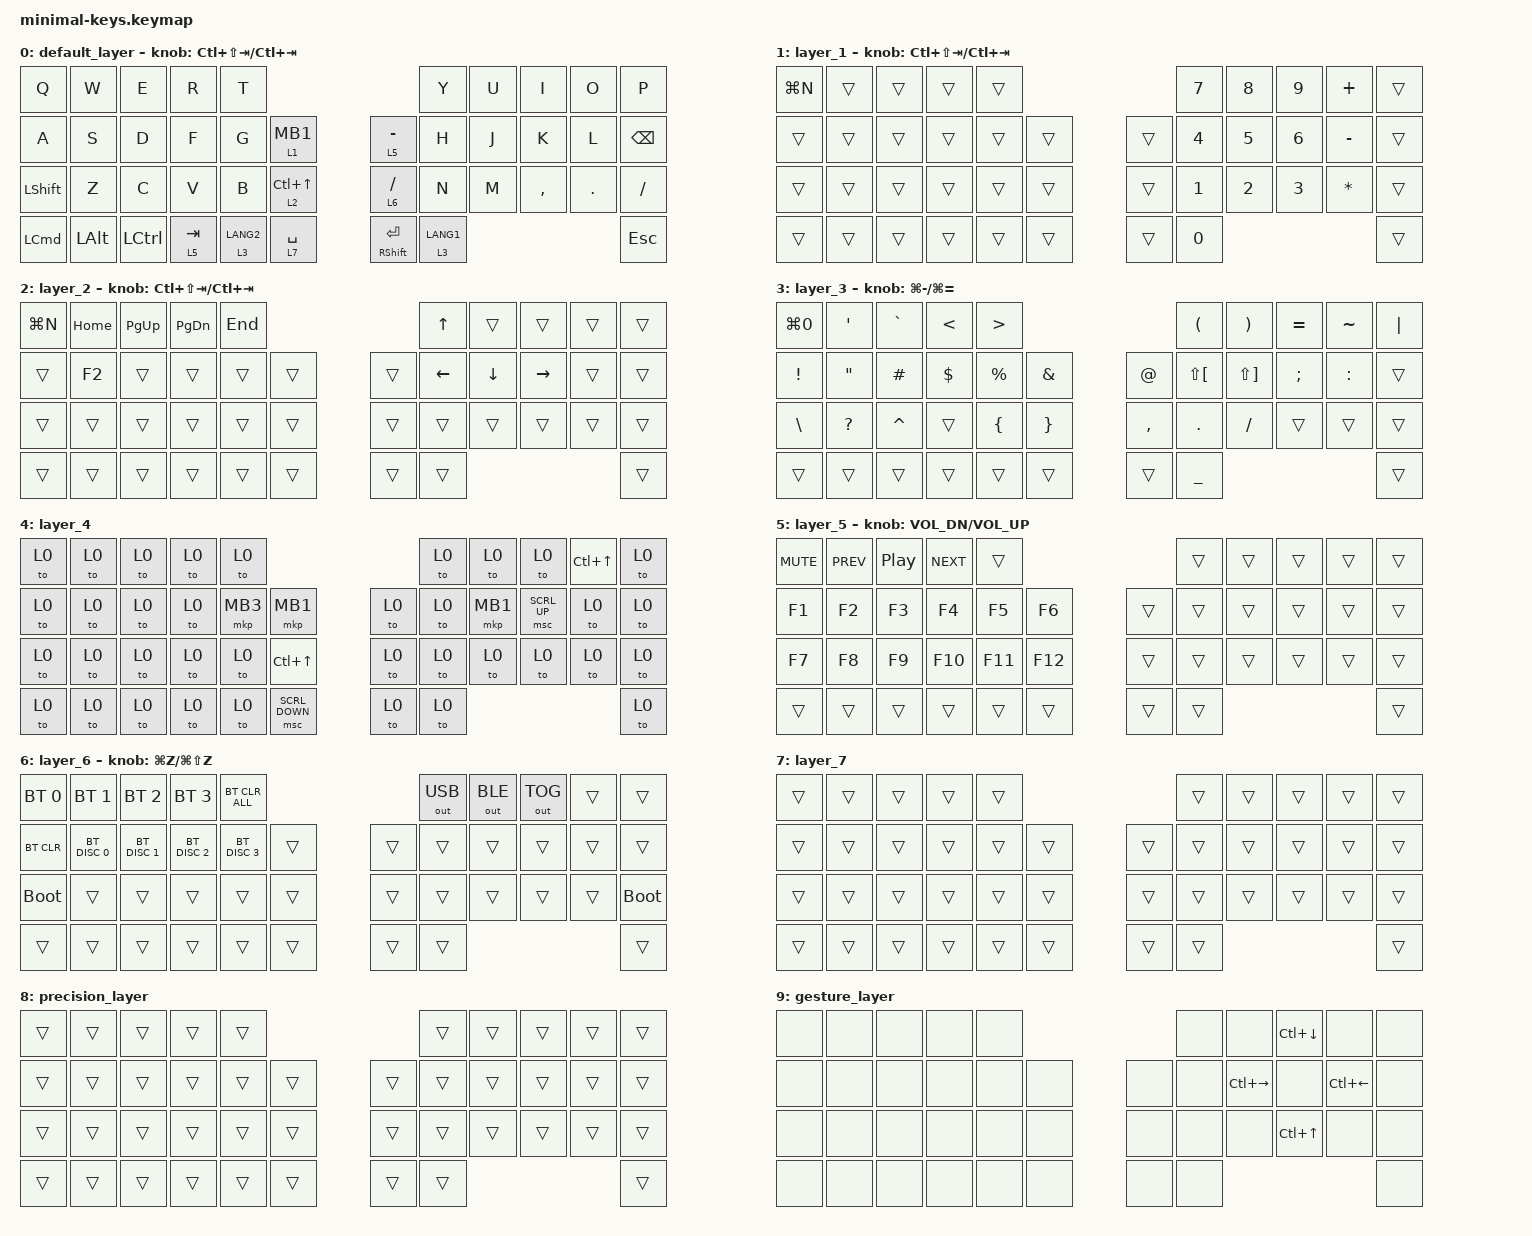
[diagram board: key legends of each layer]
#include <behaviors.dtsi>
#include <dt-bindings/zmk/bt.h>
#include <dt-bindings/zmk/keys.h>
#include <dt-bindings/zmk/outputs.h>
#include <dt-bindings/zmk/pointing.h>

#undef ZMK_POINTING_DEFAULT_SCRL_VAL
#define ZMK_POINTING_DEFAULT_SCRL_VAL 100

/ {
    behaviors {
        // hold-tap that resolves the tap arm as a mouse click (&mkp).
        // Used for the "left-click / LT1" and "MissionCtrl / LT2"
        // -style cells in the spreadsheet design.
        lt_mkp: layer_tap_mouse_press {
            compatible = "zmk,behavior-hold-tap";
            label = "LAYER_TAP_MKP";
            bindings = <&mo>, <&mkp>;
            #binding-cells = <2>;
            tapping-term-ms = <200>;
            flavor = "tap-preferred";
            quick-tap-ms = <150>;
        };

        gesture_slot: gesture_slot {
            compatible = "minimal-keys,behavior-gesture-slot";
            #binding-cells = <1>;
        };
    };

    combos {
        compatible = "zmk,combos";

        // Gesture mode is scoped to the L6 hold in minimal-keys_R.overlay;
        // no activation combo is needed.
    };

    keymap {
        compatible = "zmk,keymap";

        // ───────────────────────────────────────────────────────────────
        // L0: Default (QWERTY)
        //   Row2 left-center cell: left-click / LT1
        //   Row2 right-center cell: '-' / LT5 (Function layer hold)
        //   Row3 left-center cell:  Mission Control / LT2 (Arrows layer)
        //   Row3 right-center cell: '/' / LT6 (BT layer hold)
        //   Row4 thumbs:  LCMD LALT LCTRL | TAB/L5 | LANG2/L3 | SPACE/L7
        //                                | ENT/RSFT | LANG1/L3 | ESC
        // ───────────────────────────────────────────────────────────────
        default_layer {
            bindings = <
&kp Q     &kp W     &kp E     &kp R     &kp T                                             &kp Y           &kp U  &kp I      &kp O    &kp P
&kp A     &kp S     &kp D     &kp F     &kp G     &lt_mkp 1 MB1      &lt 5 MINUS          &kp H           &kp J  &kp K      &kp L    &kp BACKSPACE
&kp LSHFT &kp Z     &kp C     &kp V     &kp B     &lt 2 LC(UP)       &lt 6 SLASH          &kp N           &kp M  &kp COMMA  &kp DOT  &kp FSLH
&kp LCMD  &kp LALT  &kp LCTRL &lt 5 TAB &lt 3 LANG2 &lt 7 SPACE      &mt RSHIFT ENTER     &lt 3 LANG1                                &kp ESCAPE
            >;

            sensor-bindings = <&inc_dec_kp LC(LS(TAB)) LC(TAB)>;
        };

        // ───────────────────────────────────────────────────────────────
        // L1: Numpad (right-hand)
        //   Cmd+N on the top-left, 7/8/9 + on top right, 4/5/6 - mid,
        //   1/2/3 * bottom; 0 under the right thumb.
        // ───────────────────────────────────────────────────────────────
        layer_1 {
            bindings = <
&kp LG(N) &trans    &trans    &trans    &trans                                             &kp N7  &kp N8  &kp N9     &kp PLUS  &trans
&trans    &trans    &trans    &trans    &trans    &trans             &trans                &kp N4  &kp N5  &kp N6     &kp MINUS &trans
&trans    &trans    &trans    &trans    &trans    &trans             &trans                &kp N1  &kp N2  &kp N3     &kp ASTRK &trans
&trans    &trans    &trans    &trans    &trans    &trans             &trans                &kp N0                                &trans
            >;

            sensor-bindings = <&inc_dec_kp LC(LS(TAB)) LC(TAB)>;
        };

        // ───────────────────────────────────────────────────────────────
        // L2: Arrows + macOS navigation
        //   Top-right Y: ↑.  Mid-right HJK: ← ↓ →
        //   Top-left: Cmd+N, Home, PgUp, PgDn, End
        //   Mid-left F2 on the S position (rename in Finder).
        // ───────────────────────────────────────────────────────────────
        layer_2 {
            bindings = <
&kp LG(N) &kp HOME  &kp PG_UP &kp PG_DN &kp END                                            &kp UP    &trans   &trans   &trans   &trans
&trans    &kp F2    &trans    &trans    &trans    &trans             &trans                &kp LEFT  &kp DOWN &kp RIGHT &trans  &trans
&trans    &trans    &trans    &trans    &trans    &trans             &trans                &trans    &trans   &trans   &trans   &trans
&trans    &trans    &trans    &trans    &trans    &trans             &trans                &trans                              &trans
            >;

            sensor-bindings = <&inc_dec_kp LC(LS(TAB)) LC(TAB)>;
        };

        // ───────────────────────────────────────────────────────────────
        // L3: Symbols
        //   Row1: Cmd+0  '  `  <  >    │ (  )  =  ~  |
        //   Row2: !  "  #  $  %  &     │ @  「  」  ;  :  trans
        //   Row3: \  ?  ^  trans { }   │ ,  .  /  trans trans trans
        //   Row4: trans×6              │ trans  _  trans
        //   Note: 「」are rendered via SHIFT+[ / SHIFT+] (works in
        //   most JP IME contexts); for plain ASCII you get [ and ].
        // ───────────────────────────────────────────────────────────────
        layer_3 {
            bindings = <
&kp LG(N0) &kp SQT   &kp GRAVE &kp LT    &kp GT                                              &kp LPAR   &kp RPAR  &kp EQUAL &kp TILDE &kp PIPE
&kp EXCL   &kp DQT   &kp HASH  &kp DLLR  &kp PRCNT &kp AMPS           &kp AT                  &kp LS(LBKT) &kp LS(RBKT) &kp SEMI &kp COLON &trans
&kp BSLH   &kp QMARK &kp CARET &trans    &kp LBRC  &kp RBRC           &kp COMMA               &kp DOT    &kp FSLH  &trans   &trans   &trans
&trans     &trans    &trans    &trans    &trans    &trans             &trans                  &kp UNDER                              &trans
            >;

            sensor-bindings = <&inc_dec_kp LG(MINUS) LG(EQUAL)>;
        };

        // ───────────────────────────────────────────────────────────────
        // L4: Mouse (Auto Mouse target)
        //   Most cells force-return to L0 via &to 0 so the layer self-
        //   ejects unless the user is on a click/scroll cell.
        // ───────────────────────────────────────────────────────────────
        layer_4 {
            bindings = <
&to 0  &to 0  &to 0  &to 0  &to 0                                            &to 0    &to 0    &to 0       &kp LC(UP) &to 0
&to 0  &to 0  &to 0  &to 0  &mkp MB3   &mkp MB1           &to 0               &to 0    &mkp MB1 &msc SCRL_UP &to 0     &to 0
&to 0  &to 0  &to 0  &to 0  &to 0      &kp LC(UP)         &to 0               &to 0    &to 0    &to 0       &to 0      &to 0
&to 0  &to 0  &to 0  &to 0  &to 0      &msc SCRL_DOWN     &to 0               &to 0                                    &to 0
            >;
        };

        // ───────────────────────────────────────────────────────────────
        // L5: Function + Media
        //   Row1 left: Mute, Prev, Play/Pause, Next
        //   Row2 left: F1-F6
        //   Row3 left: F7-F12
        // ───────────────────────────────────────────────────────────────
        layer_5 {
            bindings = <
&kp C_MUTE &kp C_PREV &kp C_PP   &kp C_NEXT &trans                                          &trans &trans &trans &trans &trans
&kp F1     &kp F2     &kp F3     &kp F4     &kp F5     &kp F6             &trans            &trans &trans &trans &trans &trans
&kp F7     &kp F8     &kp F9     &kp F10    &kp F11    &kp F12            &trans            &trans &trans &trans &trans &trans
&trans     &trans     &trans     &trans     &trans     &trans             &trans            &trans                       &trans
            >;

            sensor-bindings = <&inc_dec_kp C_VOL_DN C_VOL_UP>;
        };

        // ───────────────────────────────────────────────────────────────
        // L6: Bluetooth
        //   Row1: BT_SEL 0..3, BT_CLR_ALL | 出力切替 USB / BLE / TOG
        //   Row2: BT_CLR (current), BT_DISC 0..3
        //   Row3: bootloader on both far ends
        //
        //   &out OUT_USB は Studio USB 接続の要:
        //   ZMK Studio RPC は「選択中の出力先」の transport でしか
        //   待ち受けない（zmk rpc.c refresh_selected_transport）。
        //   出力先がBLEのままだと USB CDC は開けても RPC 無応答になる。
        // ───────────────────────────────────────────────────────────────
        layer_6 {
            bindings = <
&bt BT_SEL 0  &bt BT_SEL 1  &bt BT_SEL 2  &bt BT_SEL 3  &bt BT_CLR_ALL                                          &out OUT_USB  &out OUT_BLE  &out OUT_TOG  &trans  &trans
&bt BT_CLR    &bt BT_DISC 0 &bt BT_DISC 1 &bt BT_DISC 2 &bt BT_DISC 3   &trans            &trans                &trans  &trans  &trans  &trans  &trans
&bootloader   &trans        &trans        &trans        &trans          &trans            &trans                &trans  &trans  &trans  &trans  &bootloader
&trans        &trans        &trans        &trans        &trans          &trans            &trans                &trans                          &trans
            >;

            sensor-bindings = <&inc_dec_kp LG(Z) LG(LS(Z))>;
        };

        // ───────────────────────────────────────────────────────────────
        // L7: Scroll (all-trans for now)
        //   Reserved for future fine-tuning.
        // ───────────────────────────────────────────────────────────────
        layer_7 {
            bindings = <
&trans &trans &trans &trans &trans                                          &trans &trans &trans &trans &trans
&trans &trans &trans &trans &trans &trans            &trans                 &trans &trans &trans &trans &trans
&trans &trans &trans &trans &trans &trans            &trans                 &trans &trans &trans &trans &trans
&trans &trans &trans &trans &trans &trans            &trans                 &trans                       &trans
            >;
        };

        // ───────────────────────────────────────────────────────────────
        // L8: Internal precision mode (all-trans)
        //   Reserved for PMW3610 snipe mode. Do not make user-editable.
        // ───────────────────────────────────────────────────────────────
        precision_layer {
            bindings = <
&trans &trans &trans &trans &trans                                          &trans &trans &trans &trans &trans
&trans &trans &trans &trans &trans &trans            &trans                 &trans &trans &trans &trans &trans
&trans &trans &trans &trans &trans &trans            &trans                 &trans &trans &trans &trans &trans
&trans &trans &trans &trans &trans &trans            &trans                 &trans                       &trans
            >;
        };

        gesture_layer {
            bindings = <
&none &none &none &none &none                                          &none          &none &kp LC(DOWN) &none        &none
&none &none &none &none &none &none             &none                  &none          &kp LC(RIGHT) &none        &kp LC(LEFT) &none
&none &none &none &none &none &none             &none                  &none          &none         &kp LC(UP)   &none        &none
&none &none &none &none &none &none             &none                  &none                                    &none
            >;
        };
    };
};
